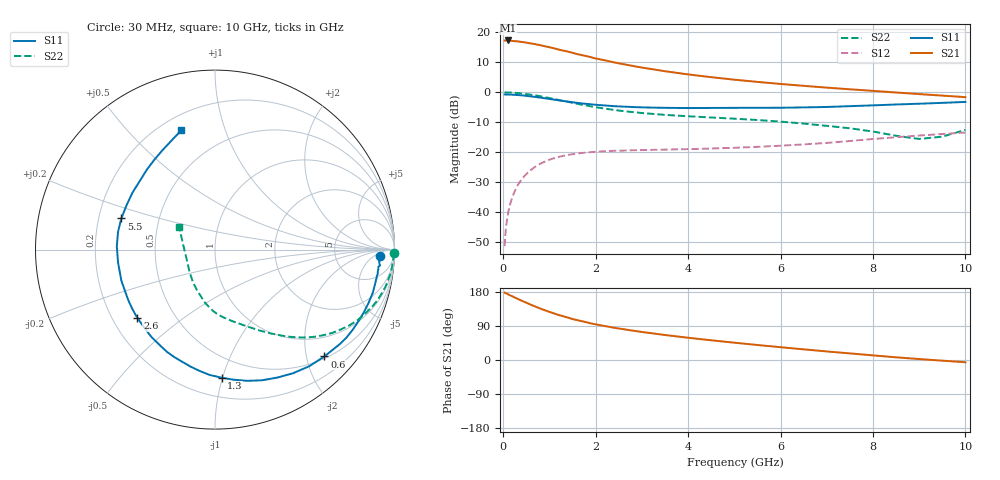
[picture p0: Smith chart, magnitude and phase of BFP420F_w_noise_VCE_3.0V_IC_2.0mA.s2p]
! Infineon Technologies  Discrete & RF Semiconductors
! BFP420F
! VCE =  3.0 V,  IC =  2.0 mA
! Common Emitter S-Parameters:  Sep 2011
# GHz  S  MA  R  50
!  f  S11  S21  S12  S22
! GHz  MAG  ANG  MAG  ANG  MAG  ANG  MAG  ANG
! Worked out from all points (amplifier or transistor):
!   54 points, 30 MHz to 10 GHz, reference 50 ohm
!   highest |S21| = 17.3 dB at 100 MHz (marker M1)
!   |S21| within 3 dB of that: start of sweep to 1.191 GHz
!   unconditionally stable (mu >= 1): 3.231 GHz to end of sweep
!   at 120 MHz: K = 0.03, MSG = 28.3 dB, |S12| = -39.3 dB
!   at 1.3 GHz: K = 0.30, MSG = 17.6 dB, |S12| = -21.2 dB
!   at 10 GHz: K = 1.58, MAG = 1.4 dB, |S12| = -13.4 dB
!   lowest NFmin = 0.81 dB at 450 MHz
!   S11 on the Smith chart (normalised r, x): 30 MHz: 20, -9; 600 MHz: 0.54, -2.35; 1.3 GHz: 0.34, -0.99; 2.6 GHz: 0.30, -0.35; 5.5 GHz: 0.30, +0.15; 10 GHz: 0.28, +0.72
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0.03  0.9199 -2.1  7.299 177.8  0.0027 87.2  0.9954 -1.2
0.06  0.9186 -4.8  7.288 176.1  0.0056 87.8  0.9954 -2.4
0.1  0.9151 -7.7  7.32 173.6  0.0091 84.5  0.9933 -4.1
0.11  0.9167 -8.4  7.229 173.2  0.01 84.5  0.9923 -4.4
0.3  0.9003 -22.7  7.087 162.1  0.0269 78.1  0.9728 -12.1
0.4  0.8878 -30.1  6.906 156.4  0.0353 74.3  0.9554 -15.8
0.6  0.8521 -44.3  6.521 145.7  0.0506 66.7  0.9101 -23.1
0.8  0.8144 -57.8  6.103 135.8  0.0639 59.9  0.8581 -29.6
0.9  0.7932 -64.0  5.857 131.3  0.0696 56.8  0.829 -32.5
1.1  0.7533 -76.1  5.415 122.8  0.0794 50.9  0.7716 -38.1
1.3  0.7148 -87.0  4.955 115.4  0.0868 46.1  0.7176 -42.9
1.5  0.6808 -97.4  4.548 108.1  0.0925 41.9  0.6665 -47.1
1.7  0.6504 -106.5  4.168 102.4  0.0968 38.3  0.6206 -51.0
2  0.6177 -119.0  3.663 94.1  0.1015 34.0  0.564 -56.1
2.6  0.576 -138.7  2.942 81.3  0.1065 28.6  0.4845 -64.5
3.5  0.5497 -161.7  2.244 66.0  0.1104 25.1  0.4197 -74.5
4.5  0.5474 178.2  1.785 52.0  0.1151 24.8  0.3792 -83.2
5.5  0.55 161.6  1.489 39.6  0.1227 26.3  0.3444 -91.3
7  0.5681 137.2  1.195 22.6  0.1428 28.6  0.2753 -106.0
8.5  0.6251 118.2  0.991 7.1  0.1777 27.0  0.1879 -139.2
9  0.6439 113.7  0.932 2.5  0.1895 25.2  0.1663 -162.6
10  0.6902 105.7  0.829 -5.9  0.2128 21.3  0.2355 147.8
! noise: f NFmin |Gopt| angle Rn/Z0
0.45  0.81  0.49  17  0.26
0.9  0.87  0.48  36  0.26
1.9  1.18  0.37  84  0.2
2.4  1.31  0.38  97  0.2
3.5  1.73  0.39  136  0.18
